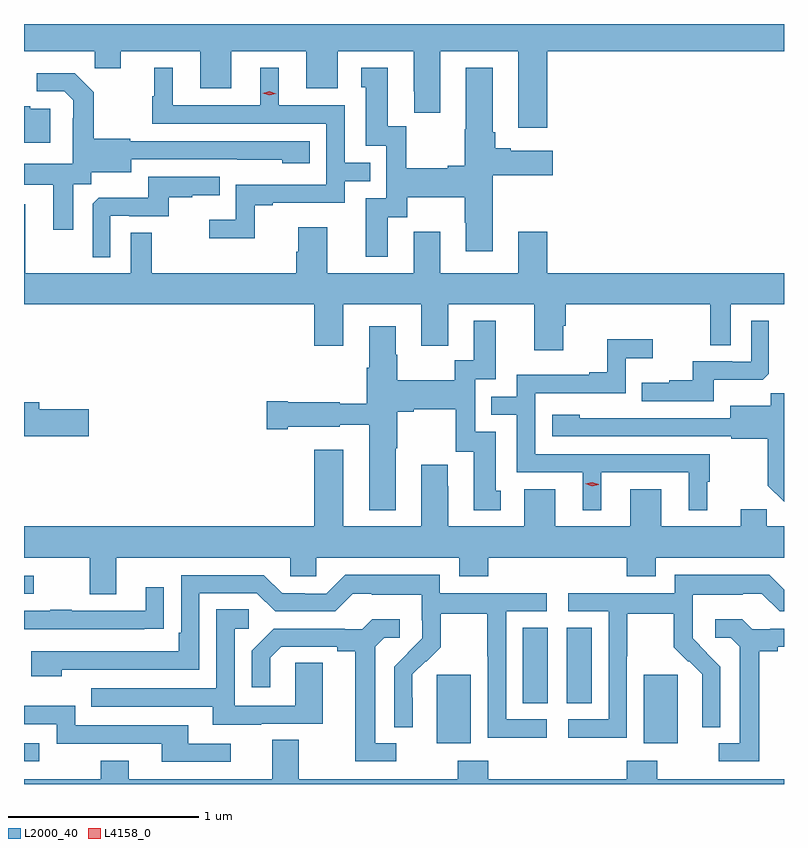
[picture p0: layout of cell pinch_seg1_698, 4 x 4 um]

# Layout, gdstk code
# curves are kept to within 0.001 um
import gdstk
lib = gdstk.Library(unit=1e-6, precision=1e-09)
def R(c, l, rs):  # rectangles x0, y0, x1, y1
    for r in rs: c.add(gdstk.rectangle(r[:2], r[2:], *l))
def P(c, l, *ps):  # polygons
    for p in ps: c.add(gdstk.Polygon(p, *l))
L2000_40 = (2000, 40)
L4158_0 = (4158, 0)

pinch_seg1_698 = lib.new_cell('pinch_seg1_698')
R(pinch_seg1_698, L2000_40, [(745.255,571.971,745.336,572.067), (747.428,572.066,747.607,572.427), (748.517,572.066,748.696,572.427), (747.881,572.278,748.012,572.675), (748.112,572.278,748.243,572.675), (745.255,572.853,745.306,572.949)])
P(pinch_seg1_698, L2000_40, [(748.01,575.708),(749.255,575.708),(749.255,575.852),(745.255,575.852),(745.255,575.708),(745.627,575.708),(745.627,575.618),(745.765,575.618),(745.765,575.708),(746.183,575.708),(746.183,575.514),(746.347,575.514),(746.347,575.708),(746.741,575.708),(746.741,575.514),(746.905,575.514),(746.905,575.708),(747.305,575.708),(747.305,575.497),(747.308,575.497),(747.308,575.385),(747.445,575.385),(747.445,575.708),(747.857,575.708),(747.857,575.307),(748.01,575.307)],
  [(746.469,574.899),(746.563,574.899),(746.563,574.911),(746.943,574.911),(746.943,575.025),(747.077,575.025),(747.077,575.121),(746.943,575.121),(746.943,575.424),(746.596,575.424),(746.596,575.623),(746.498,575.623),(746.498,575.424),(746.038,575.424),(746.038,575.623),(745.94,575.623),(745.94,575.472),(745.929,575.472),(745.929,575.328),(746.847,575.328),(746.847,575.007),(746.37,575.007),(746.37,574.822),(746.229,574.822),(746.229,574.724),(746.469,574.724)],
  [(747.169,574.834),(747.271,574.834),(747.271,574.94),(747.574,574.94),(747.574,574.806),(747.581,574.806),(747.581,574.656),(747.721,574.656),(747.721,575.056),(748.039,575.056),(748.039,575.185),(747.817,575.185),(747.817,575.198),(747.734,575.198),(747.734,575.281),(747.721,575.281),(747.721,575.623),(747.581,575.623),(747.581,575.297),(747.574,575.297),(747.574,575.105),(747.485,575.105),(747.485,575.092),(747.267,575.092),(747.267,575.315),(747.169,575.315),(747.169,575.623),(747.029,575.623),(747.029,575.52),(747.053,575.52),(747.053,575.211),(747.162,575.211),(747.162,574.935),(747.053,574.935),(747.053,574.626),(747.169,574.626)],
  [(745.513,575.008),(745.608,575.008),(745.608,575.072),(745.819,575.072),(745.819,575.139),(746.613,575.138),(746.613,575.12),(746.758,575.12),(746.758,575.235),(745.815,575.235),(745.815,575.248),(745.623,575.248),(745.623,575.493),(745.523,575.593),(745.323,575.593),(745.323,575.499),(745.467,575.499),(745.514,575.452),(745.514,575.357),(745.512,575.357),(745.512,575.116),(745.255,575.116),(745.255,575.006),(745.409,575.006),(745.409,574.77),(745.513,574.77)],
  [(745.393,575.406),(745.289,575.406),(745.289,575.419),(745.255,575.419),(745.255,575.226),(745.393,575.226)],
  [(745.71,574.842),(745.81,574.842),(745.81,574.839),(746.018,574.839),(746.018,574.941),(746.141,574.941),(746.141,574.952),(746.285,574.952),(746.285,575.049),(745.908,575.049),(745.908,574.937),(745.649,574.937),(745.617,574.905),(745.617,574.625),(745.71,574.625)],
  [(748.093,574.263),(748.106,574.263),(748.106,574.376),(748.866,574.376),(748.866,574.162),(748.974,574.162),(748.974,574.376),(749.255,574.376),(749.255,574.54),(748.01,574.54),(748.01,574.759),(747.857,574.759),(747.857,574.54),(747.445,574.54),(747.445,574.759),(747.305,574.759),(747.305,574.54),(746.851,574.54),(746.851,574.783),(746.699,574.783),(746.699,574.653),(746.687,574.653),(746.687,574.54),(745.927,574.54),(745.927,574.754),(745.818,574.754),(745.818,574.54),(745.261,574.54),(745.261,574.903),(745.255,574.903),(745.255,574.376),(746.783,574.376),(746.783,574.158),(746.935,574.158),(746.935,574.376),(747.347,574.376),(747.347,574.158),(747.487,574.158),(747.487,574.376),(747.941,574.376),(747.941,574.134),(748.093,574.134)],
  [(747.211,573.619),(747.219,573.619),(747.219,573.812),(747.307,573.812),(747.307,573.824),(747.527,573.824),(747.527,573.6),(747.623,573.6),(747.623,573.294),(747.763,573.294),(747.763,573.396),(747.739,573.396),(747.739,573.705),(747.63,573.705),(747.63,573.981),(747.739,573.981),(747.739,574.291),(747.623,574.291),(747.623,574.082),(747.522,574.082),(747.522,573.976),(747.219,573.976),(747.219,574.11),(747.211,574.11),(747.211,574.261),(747.071,574.261),(747.071,574.043),(747.059,574.043),(747.059,573.853),(746.916,573.853),(746.916,573.861),(746.644,573.861),(746.644,573.866),(746.532,573.866),(746.532,573.719),(746.644,573.719),(746.644,573.731),(746.916,573.731),(746.916,573.743),(747.071,573.743),(747.071,573.293),(747.211,573.293)],
  [(748.885,573.98),(749.143,573.98),(749.175,574.011),(749.175,574.291),(749.082,574.291),(749.082,574.074),(748.982,574.074),(748.982,574.077),(748.775,574.077),(748.775,573.976),(748.651,573.976),(748.651,573.964),(748.507,573.964),(748.507,573.867),(748.885,573.867)],
  [(748.294,573.492),(748.754,573.492),(748.754,573.293),(748.852,573.293),(748.852,573.444),(748.864,573.444),(748.864,573.588),(747.945,573.588),(747.945,573.909),(748.422,573.909),(748.422,574.094),(748.564,574.094),(748.564,574.193),(748.324,574.193),(748.324,574.018),(748.229,574.018),(748.229,574.005),(747.849,574.005),(747.849,573.891),(747.715,573.891),(747.715,573.795),(747.849,573.795),(747.849,573.492),(748.196,573.492),(748.196,573.293),(748.294,573.293)],
  [(749.255,573.908),(749.184,573.908),(749.184,573.844),(748.973,573.844),(748.973,573.777),(748.179,573.778),(748.179,573.796),(748.035,573.796),(748.035,573.681),(748.977,573.681),(748.977,573.669),(749.169,573.669),(749.169,573.423),(749.255,573.337)],
  [(745.597,573.824),(745.336,573.824),(745.336,573.86),(745.255,573.86),(745.255,573.682),(745.597,573.682)],
  [(745.741,573.044),(746.655,573.044),(746.655,572.946),(746.793,572.946),(746.793,573.044),(747.545,573.044),(747.545,572.945),(747.698,572.945),(747.698,573.044),(748.427,573.044),(748.427,572.945),(748.579,572.945),(748.579,573.044),(749.255,573.044),(749.255,573.208),(749.165,573.208),(749.165,573.299),(749.027,573.299),(749.027,573.208),(748.609,573.208),(748.609,573.403),(748.445,573.403),(748.445,573.208),(748.051,573.208),(748.051,573.403),(747.887,573.403),(747.887,573.208),(747.487,573.208),(747.487,573.419),(747.484,573.419),(747.484,573.532),(747.347,573.532),(747.347,573.208),(746.935,573.208),(746.935,573.61),(746.783,573.61),(746.783,573.208),(745.255,573.208),(745.255,573.044),(745.601,573.044),(745.601,572.85),(745.741,572.85)],
  [(748.428,572.524),(748.431,572.524),(748.431,572.748),(748.675,572.748),(748.675,572.573),(748.752,572.496),(748.755,572.499),(748.826,572.429),(748.826,572.306),(748.824,572.306),(748.824,572.152),(748.92,572.152),(748.92,572.47),(748.774,572.618),(748.774,572.715),(748.776,572.715),(748.776,572.849),(749.039,572.849),(749.039,572.853),(749.139,572.853),(749.232,572.76),(749.255,572.76),(749.255,572.875),(749.177,572.953),(748.68,572.953),(748.68,572.856),(748.119,572.856),(748.119,572.76),(748.332,572.76),(748.332,572.193),(748.119,572.193),(748.119,572.095),(748.428,572.095)],
  [(748.006,572.193),(747.792,572.193),(747.792,572.76),(748.006,572.76),(748.006,572.856),(747.444,572.856),(747.444,572.953),(746.947,572.953),(746.847,572.853),(746.732,572.853),(746.732,572.856),(746.613,572.856),(746.517,572.952),(746.082,572.952),(746.082,572.647),(746.069,572.647),(746.069,572.55),(745.293,572.55),(745.293,572.42),(745.454,572.42),(745.454,572.454),(746.178,572.454),(746.178,572.856),(746.481,572.856),(746.577,572.76),(746.892,572.76),(746.985,572.853),(747.085,572.853),(747.085,572.849),(747.348,572.849),(747.348,572.715),(747.35,572.715),(747.35,572.618),(747.204,572.47),(747.204,572.152),(747.3,572.152),(747.299,572.429),(747.369,572.499),(747.372,572.496),(747.449,572.573),(747.449,572.748),(747.694,572.748),(747.694,572.524),(747.696,572.524),(747.696,572.095),(748.006,572.095)],
  [(745.889,572.668),(745.991,572.668),(745.991,572.887),(745.895,572.887),(745.895,572.763),(745.505,572.763),(745.505,572.768),(745.393,572.768),(745.393,572.763),(745.255,572.763),(745.255,572.667),(745.889,572.667)],
  [(746.503,572.169),(746.827,572.169),(746.827,572.489),(746.682,572.489),(746.682,572.265),(746.364,572.265),(746.364,572.67),(746.437,572.67),(746.437,572.771),(746.268,572.771),(746.268,572.355),(745.609,572.355),(745.609,572.259),(746.249,572.259),(746.249,572.165),(746.503,572.165)],
  [(749.125,572.552),(749.221,572.552),(749.221,572.574),(749.255,572.574),(749.255,572.67),(749.182,572.67),(749.182,572.667),(749.088,572.667),(749.036,572.719),(748.893,572.719),(748.893,572.622),(748.974,572.622),(749.021,572.575),(749.021,572.067),(748.911,572.067),(748.911,571.971),(749.125,571.971)],
  [(747.214,572.067),(747.103,572.067),(747.103,572.575),(747.15,572.622),(747.232,572.622),(747.232,572.719),(747.088,572.719),(747.036,572.667),(746.942,572.667),(746.942,572.67),(746.57,572.67),(746.454,572.554),(746.454,572.361),(746.551,572.361),(746.551,572.517),(746.608,572.574),(746.903,572.574),(746.903,572.552),(746.999,572.552),(746.999,571.971),(747.214,571.971)],
  [(746.344,572.064),(746.119,572.064),(746.119,572.16),(745.524,572.16),(745.524,572.263),(745.255,572.263),(745.255,572.166),(745.428,572.166),(745.428,572.064),(745.979,572.064),(745.979,571.968),(746.344,571.968)],
  [(749.255,571.876),(748.587,571.876),(748.587,571.975),(748.427,571.975),(748.427,571.876),(747.698,571.876),(747.698,571.975),(747.538,571.975),(747.538,571.876),(746.701,571.876),(746.701,572.084),(746.561,572.084),(746.561,571.876),(745.807,571.876),(745.807,571.975),(745.66,571.975),(745.66,571.876),(745.255,571.876),(745.255,571.852),(749.255,571.852)])
P(pinch_seg1_698, L4158_0, [(748.245,573.42),(748.209,573.431),(748.209,573.431),(748.209,573.431),(748.245,573.44),(748.281,573.429),(748.281,573.429),(748.281,573.428)],
  [(746.547,575.477),(746.512,575.488),(746.511,575.488),(746.512,575.488),(746.547,575.497),(746.582,575.486),(746.583,575.486),(746.582,575.486)])

lib.write_gds('pinch_seg1_698.gds')
